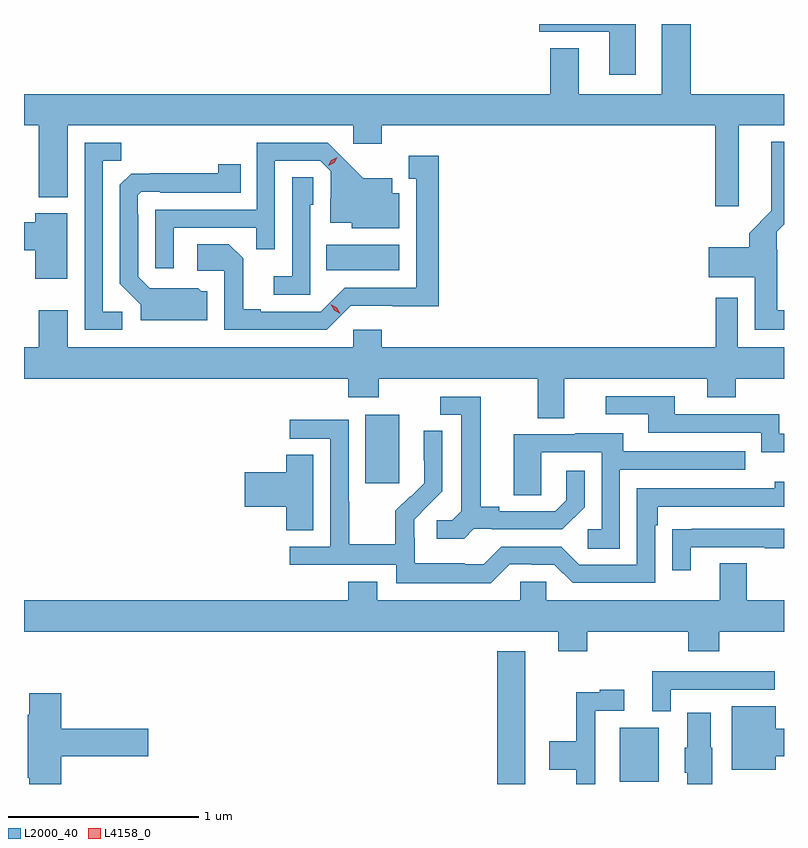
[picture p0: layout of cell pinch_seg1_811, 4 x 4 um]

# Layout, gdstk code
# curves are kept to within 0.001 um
import gdstk
lib = gdstk.Library(unit=1e-6, precision=1e-09)
def R(c, l, rs):  # rectangles x0, y0, x1, y1
    for r in rs: c.add(gdstk.rectangle(r[:2], r[2:], *l))
def P(c, l, *ps):  # polygons
    for p in ps: c.add(gdstk.Polygon(p, *l))
L2000_40 = (2000, 40)
L4158_0 = (4158, 0)

pinch_seg1_811 = lib.new_cell('pinch_seg1_811')
R(pinch_seg1_811, L2000_40, [(471.488,569.578,471.637,570.277), (472.133,569.591,472.339,569.875), (470.795,571.161,470.974,571.522), (470.59,572.282,470.974,572.416)])
P(pinch_seg1_811, L2000_40, [(472.219,573.578),(471.71,573.578),(471.71,573.536),(472.079,573.536),(472.079,573.312),(472.219,573.312)],
  [(472.637,572.619),(472.759,572.619),(472.759,573.044),(472.998,573.044),(472.998,573.208),(472.508,573.208),(472.508,573.578),(472.355,573.578),(472.355,573.208),(471.919,573.208),(471.919,573.451),(471.767,573.451),(471.767,573.208),(468.998,573.208),(468.998,573.044),(469.076,573.044),(469.076,572.666),(469.228,572.666),(469.228,573.044),(470.73,573.044),(470.73,572.949),(470.882,572.949),(470.882,573.044),(472.637,573.044)],
  [(472.998,572.071),(472.963,572.071),(472.963,572.39),(472.959,572.39),(472.959,572.484),(472.998,572.523),(472.998,572.959),(472.931,572.959),(472.932,572.596),(472.814,572.478),(472.814,572.404),(472.602,572.404),(472.602,572.246),(472.844,572.246),(472.844,571.97),(472.998,571.97)],
  [(469.516,572.064),(469.413,572.064),(469.413,572.857),(469.509,572.857),(469.509,572.952),(469.317,572.952),(469.317,571.968),(469.516,571.968)],
  [(469.785,572.505),(470.221,572.505),(470.221,572.392),(470.319,572.392),(470.319,572.859),(470.556,572.859),(470.613,572.802),(470.613,572.66),(470.609,572.66),(470.609,572.531),(470.724,572.531),(470.724,572.504),(470.974,572.504),(470.974,572.688),(470.935,572.688),(470.935,572.767),(470.783,572.767),(470.596,572.952),(470.223,572.952),(470.223,572.601),(469.689,572.601),(469.689,572.292),(469.785,572.292)],
  [(470.718,572.094),(471.181,572.093),(471.181,572.884),(471.023,572.884),(471.023,572.763),(471.062,572.763),(471.062,572.19),(470.685,572.19),(470.559,572.064),(470.245,572.064),(470.245,572.077),(470.151,572.077),(470.151,572.344),(470.075,572.42),(469.911,572.42),(469.911,572.28),(470.052,572.28),(470.052,571.968),(470.592,571.968)],
  [(469.963,572.172),(469.932,572.172),(469.916,572.188),(469.659,572.187),(469.599,572.247),(469.599,572.576),(469.596,572.576),(469.596,572.676),(469.614,572.694),(469.714,572.694),(469.714,572.691),(470.138,572.691),(470.138,572.839),(470.02,572.839),(470.02,572.792),(469.562,572.791),(469.503,572.732),(469.503,572.21),(469.613,572.1),(469.613,572.018),(469.963,572.018)],
  [(470.505,572.628),(470.52,572.628),(470.52,572.771),(470.409,572.771),(470.409,572.251),(470.313,572.251),(470.313,572.154),(470.505,572.154)],
  [(469.225,572.581),(469.058,572.581),(469.058,572.534),(468.998,572.534),(468.998,572.387),(469.058,572.387),(469.058,572.238),(469.225,572.238)],
  [(471.841,571.712),(472.595,571.712),(472.595,571.613),(472.743,571.613),(472.743,571.712),(472.998,571.712),(472.998,571.876),(472.755,571.876),(472.755,572.137),(472.639,572.137),(472.639,571.876),(470.882,571.876),(470.882,571.969),(470.73,571.969),(470.73,571.876),(469.228,571.876),(469.228,572.071),(469.076,572.071),(469.076,571.876),(468.998,571.876),(468.998,571.712),(470.705,571.712),(470.705,571.613),(470.865,571.613),(470.865,571.712),(471.701,571.712),(471.701,571.504),(471.841,571.504)],
  [(472.998,571.422),(472.974,571.422),(472.974,571.524),(472.423,571.524),(472.423,571.62),(472.059,571.62),(472.059,571.524),(472.283,571.524),(472.283,571.428),(472.878,571.428),(472.878,571.325),(472.998,571.325)],
  [(471.366,570.921),(471.46,570.921),(471.46,570.918),(471.832,570.918),(471.948,571.034),(471.948,571.228),(471.851,571.228),(471.851,571.071),(471.794,571.014),(471.499,571.014),(471.499,571.037),(471.403,571.037),(471.403,571.617),(471.189,571.617),(471.189,571.521),(471.299,571.521),(471.299,571.013),(471.252,570.966),(471.171,570.966),(471.171,570.869),(471.314,570.869)],
  [(471.555,570.735),(471.671,570.735),(471.671,570.732),(471.789,570.732),(471.885,570.636),(472.32,570.636),(472.32,570.941),(472.333,570.941),(472.333,571.038),(472.998,571.038),(472.998,571.168),(472.949,571.168),(472.949,571.134),(472.224,571.134),(472.224,570.732),(471.921,570.732),(471.825,570.828),(471.51,570.828),(471.417,570.735),(471.317,570.735),(471.317,570.739),(471.054,570.739),(471.054,570.873),(471.052,570.873),(471.052,570.97),(471.198,571.118),(471.198,571.436),(471.102,571.436),(471.102,571.282),(471.104,571.282),(471.104,571.16),(471.033,571.089),(471.03,571.092),(470.953,571.015),(470.953,570.841),(470.709,570.841),(470.709,571.064),(470.706,571.064),(470.706,571.494),(470.397,571.494),(470.397,571.395),(470.61,571.395),(470.61,570.828),(470.397,570.828),(470.397,570.732),(470.958,570.732),(470.958,570.635),(471.455,570.635)],
  [(472.134,571.233),(472.793,571.233),(472.793,571.329),(472.153,571.329),(472.153,571.423),(471.899,571.423),(471.899,571.419),(471.575,571.419),(471.575,571.099),(471.72,571.099),(471.72,571.323),(472.038,571.323),(472.038,570.918),(471.966,570.918),(471.966,570.817),(472.134,570.817)],
  [(470.521,571.31),(470.378,571.31),(470.378,571.22),(470.16,571.22),(470.16,571.037),(470.378,571.037),(470.378,570.913),(470.521,570.913)],
  [(472.507,570.825),(472.897,570.825),(472.897,570.82),(472.998,570.82),(472.998,570.921),(472.513,570.921),(472.513,570.92),(472.411,570.92),(472.411,570.702),(472.507,570.702)],
  [(472.661,570.739),(472.661,570.544),(471.747,570.544),(471.747,570.642),(471.609,570.642),(471.609,570.544),(470.857,570.544),(470.857,570.643),(470.705,570.643),(470.705,570.544),(468.998,570.544),(468.998,570.38),(471.809,570.38),(471.809,570.278),(471.962,570.278),(471.962,570.38),(472.493,570.38),(472.493,570.278),(472.658,570.278),(472.658,570.38),(472.998,570.38),(472.998,570.544),(472.801,570.544),(472.801,570.739)],
  [(472.401,570.075),(472.948,570.075),(472.948,570.171),(472.304,570.171),(472.304,569.96),(472.401,569.96)],
  [(472.005,569.964),(472.156,569.964),(472.156,570.073),(472.028,570.073),(472.028,570.062),(471.904,570.062),(471.904,569.802),(471.762,569.802),(471.762,569.654),(471.904,569.654),(471.904,569.578),(472.005,569.578)],
  [(469.193,569.723),(469.651,569.723),(469.651,569.87),(469.193,569.87),(469.193,570.055),(469.025,570.055),(469.025,569.942),(469.018,569.942),(469.018,569.611),(469.025,569.611),(469.025,569.578),(469.193,569.578)],
  [(472.954,569.723),(472.998,569.723),(472.998,569.87),(472.954,569.87),(472.954,569.986),(472.724,569.986),(472.724,569.654),(472.954,569.654)],
  [(472.621,569.769),(472.612,569.769),(472.612,569.953),(472.49,569.953),(472.49,569.769),(472.475,569.769),(472.475,569.637),(472.49,569.637),(472.49,569.578),(472.621,569.578)])
P(pinch_seg1_811, L4158_0, [(470.662,572.053),(470.63,572.071),(470.612,572.104),(470.612,572.104),(470.613,572.104),(470.644,572.085),(470.662,572.053),(470.662,572.053)],
  [(470.599,572.832),(470.599,572.833),(470.616,572.862),(470.647,572.877),(470.647,572.877),(470.647,572.877),(470.63,572.847),(470.599,572.832)])

lib.write_gds('pinch_seg1_811.gds')
